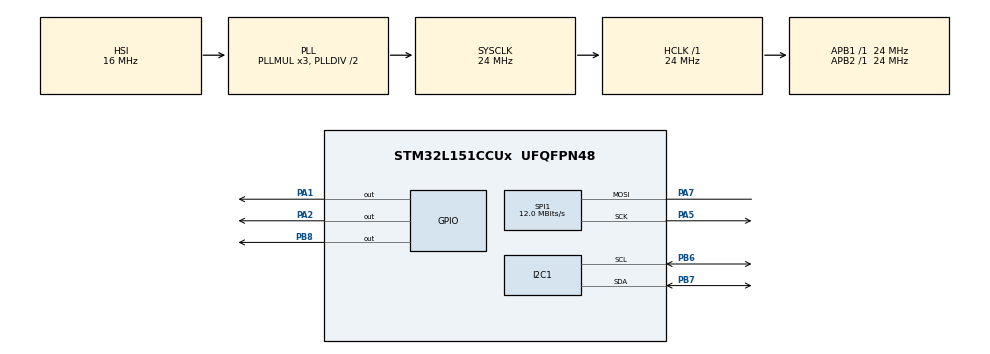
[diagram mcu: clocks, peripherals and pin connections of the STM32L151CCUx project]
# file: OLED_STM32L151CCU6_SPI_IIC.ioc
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Mcu.Family=STM32L1
Mcu.Name=STM32L151CCUx
Mcu.Package=UFQFPN48
NVIC.PriorityGroup=NVIC_PRIORITYGROUP_4
PA1.Signal=GPIO_Output
PA13.Mode=Serial_Wire
PA13.Signal=SYS_JTMS-SWDIO
PA14.Mode=Serial_Wire
PA14.Signal=SYS_JTCK-SWCLK
PA2.Signal=GPIO_Output
PA5.Mode=Simplex_Bidirectional_Master
PA5.Signal=SPI1_SCK
PA7.Mode=Simplex_Bidirectional_Master
PA7.Signal=SPI1_MOSI
PB6.Mode=I2C
PB6.Signal=I2C1_SCL
PB7.Mode=I2C
PB7.Signal=I2C1_SDA
PB8.Signal=GPIO_Output
ProjectManager.HeapSize=0x200
ProjectManager.StackSize=0x400
ProjectManager.TargetToolchain=STM32CubeIDE
RCC.48MHZClocksFreq_Value=24000000
RCC.AHBFreq_Value=24000000
RCC.APB1Freq_Value=24000000
RCC.APB1TimFreq_Value=24000000
RCC.APB2Freq_Value=24000000
RCC.APB2TimFreq_Value=24000000
RCC.HCLKFreq_Value=24000000
RCC.HSE_VALUE=8000000
RCC.HSI_VALUE=16000000
RCC.LSE_VALUE=32768
RCC.MSI_VALUE=2097000
RCC.SYSCLKFreq_VALUE=24000000
RCC.SYSCLKSource=RCC_SYSCLKSOURCE_PLLCLK
RCC.VCOOutputFreq_Value=48000000
SPI1.CalculateBaudRate=12.0 MBits/s
SPI1.Direction=SPI_DIRECTION_1LINE
SPI1.Mode=SPI_MODE_MASTER
SPI1.VirtualType=VM_MASTER
board=custom

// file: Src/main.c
/* USER CODE BEGIN Header */
/**
  ******************************************************************************
  * @file           : main.c
  * @brief          : Main program body
  ******************************************************************************
  * @attention
  *
  * <h2><center>&copy; Copyright (c) 2019 STMicroelectronics.
  * All rights reserved.</center></h2>
  *
  * This software component is licensed by ST under BSD 3-Clause license,
  * the "License"; You may not use this file except in compliance with the
  * License. You may obtain a copy of the License at:
  *                        opensource.org/licenses/BSD-3-Clause
  *
  ******************************************************************************
  */
/* USER CODE END Header */

#include "main.h"

/* USER CODE BEGIN Includes */
#include "OLED.h"
#include "codetab.h"
/* USER CODE END Includes */

I2C_HandleTypeDef hi2c1;

SPI_HandleTypeDef hspi1;

void SystemClock_Config(void);
static void MX_GPIO_Init(void);
static void MX_SPI1_Init(void);
static void MX_I2C1_Init(void);

int main(void)
{
  /* USER CODE BEGIN 1 */
	unsigned int i;
  /* USER CODE END 1 */

  /* MCU Configuration--------------------------------------------------------*/

  /* Reset of all peripherals, Initializes the Flash interface and the Systick. */
  HAL_Init();

  /* Configure the system clock */
  SystemClock_Config();

  /* Initialize all configured peripherals */
  MX_GPIO_Init();
  MX_SPI1_Init();
  MX_I2C1_Init();
  /* USER CODE BEGIN 2 */
    HAL_GPIO_WritePin(GPIOB, GPIO_PIN_8, GPIO_PIN_SET);
  	HAL_Delay(1000);
  	HAL_GPIO_WritePin(GPIOB, GPIO_PIN_8, GPIO_PIN_RESET);
  	HAL_Delay(1000);

  	OLED_Init();

  /* USER CODE END 2 */

  /* Infinite loop */
  while (1)
  {

    /* USER CODE BEGIN 3 */
	  OLED_Fill(0xFF);
	  HAL_Delay(1000);
	  OLED_Fill(0x00);
	  HAL_Delay(1000);
	  if(INCH == 0)
	{
	  OLED_ShowChar(0,0,( unsigned char *)"HelTecAutomation",1);
	  OLED_ShowChar(5,1,( unsigned char *)"HOLLEWORLD",2);
	  OLED_ShowChar(5,4,( unsigned char *)"JUST DO TI",2);
	  OLED_ShowChar(34,7,( unsigned char *)"2018-08-2",1);
	  HAL_Delay(3000);
	  OLED_CLS();
	  for(i=0; i<8; i++)
	  {
		  OLED_ShowCN(i*16,0,i);
	  		OLED_ShowCN(i*16,2,i+8);
	  	}
	  	HAL_Delay(2000);
	  	OLED_CLS();
	  	OLED_DrawBMP(0,0,132,8,BMP1);
    }

	  if(INCH == 1)
	  	{
	  			for(i=2; i<6; i++)
	  		{
	        OLED_ShowCN(i*16-8,4,i-2);
	  			 OLED_ShowCN(i*16+8,6,i+2);
	  		}
	  		HAL_Delay(2000);
	  		OLED_CLS();
	  		OLED_DrawBMP(32,4,96,8,BMP3);
	  	}
	  	HAL_Delay(2000);
	  	OLED_CLS();
  }
  /* USER CODE END 3 */
}

void SystemClock_Config(void)
{
  RCC_OscInitTypeDef RCC_OscInitStruct = {0};
  RCC_ClkInitTypeDef RCC_ClkInitStruct = {0};

  /** Configure the main internal regulator output voltage
  */
  __HAL_PWR_VOLTAGESCALING_CONFIG(PWR_REGULATOR_VOLTAGE_SCALE1);
  /** Initializes the CPU, AHB and APB busses clocks
  */
  RCC_OscInitStruct.OscillatorType = RCC_OSCILLATORTYPE_HSI;
  RCC_OscInitStruct.HSIState = RCC_HSI_ON;
  RCC_OscInitStruct.HSICalibrationValue = RCC_HSICALIBRATION_DEFAULT;
  RCC_OscInitStruct.PLL.PLLState = RCC_PLL_ON;
  RCC_OscInitStruct.PLL.PLLSource = RCC_PLLSOURCE_HSI;
  RCC_OscInitStruct.PLL.PLLMUL = RCC_PLL_MUL3;
  RCC_OscInitStruct.PLL.PLLDIV = RCC_PLL_DIV2;
  if (HAL_RCC_OscConfig(&RCC_OscInitStruct) != HAL_OK)
  {
    Error_Handler();
  }
  /** Initializes the CPU, AHB and APB busses clocks
  */
  RCC_ClkInitStruct.ClockType = RCC_CLOCKTYPE_HCLK|RCC_CLOCKTYPE_SYSCLK
                              |RCC_CLOCKTYPE_PCLK1|RCC_CLOCKTYPE_PCLK2;
  RCC_ClkInitStruct.SYSCLKSource = RCC_SYSCLKSOURCE_PLLCLK;
  RCC_ClkInitStruct.AHBCLKDivider = RCC_SYSCLK_DIV1;
  RCC_ClkInitStruct.APB1CLKDivider = RCC_HCLK_DIV1;
  RCC_ClkInitStruct.APB2CLKDivider = RCC_HCLK_DIV1;

  if (HAL_RCC_ClockConfig(&RCC_ClkInitStruct, FLASH_LATENCY_1) != HAL_OK)
  {
    Error_Handler();
  }
}

static void MX_I2C1_Init(void)
{

  hi2c1.Instance = I2C1;
  hi2c1.Init.ClockSpeed = 100000;
  hi2c1.Init.DutyCycle = I2C_DUTYCYCLE_2;
  hi2c1.Init.OwnAddress1 = 0;
  hi2c1.Init.AddressingMode = I2C_ADDRESSINGMODE_7BIT;
  hi2c1.Init.DualAddressMode = I2C_DUALADDRESS_DISABLE;
  hi2c1.Init.OwnAddress2 = 0;
  hi2c1.Init.GeneralCallMode = I2C_GENERALCALL_DISABLE;
  hi2c1.Init.NoStretchMode = I2C_NOSTRETCH_DISABLE;
  if (HAL_I2C_Init(&hi2c1) != HAL_OK)
  {
    Error_Handler();
  }

}

static void MX_SPI1_Init(void)
{

  /* SPI1 parameter configuration*/
  hspi1.Instance = SPI1;
  hspi1.Init.Mode = SPI_MODE_MASTER;
  hspi1.Init.Direction = SPI_DIRECTION_1LINE;
  hspi1.Init.DataSize = SPI_DATASIZE_8BIT;
  hspi1.Init.CLKPolarity = SPI_POLARITY_LOW;
  hspi1.Init.CLKPhase = SPI_PHASE_1EDGE;
  hspi1.Init.NSS = SPI_NSS_SOFT;
  hspi1.Init.BaudRatePrescaler = SPI_BAUDRATEPRESCALER_2;
  hspi1.Init.FirstBit = SPI_FIRSTBIT_MSB;
  hspi1.Init.TIMode = SPI_TIMODE_DISABLE;
  hspi1.Init.CRCCalculation = SPI_CRCCALCULATION_DISABLE;
  hspi1.Init.CRCPolynomial = 10;
  if (HAL_SPI_Init(&hspi1) != HAL_OK)
  {
    Error_Handler();
  }

}

static void MX_GPIO_Init(void)
{
  GPIO_InitTypeDef GPIO_InitStruct = {0};

  /* GPIO Ports Clock Enable */
  __HAL_RCC_GPIOA_CLK_ENABLE();
  __HAL_RCC_GPIOB_CLK_ENABLE();

  /*Configure GPIO pin Output Level */
  HAL_GPIO_WritePin(GPIOA, GPIO_PIN_1|GPIO_PIN_2, GPIO_PIN_RESET);

  /*Configure GPIO pin Output Level */
  HAL_GPIO_WritePin(GPIOB, GPIO_PIN_8, GPIO_PIN_RESET);

  /*Configure GPIO pins : PA1 PA2 */
  GPIO_InitStruct.Pin = GPIO_PIN_1|GPIO_PIN_2;
  GPIO_InitStruct.Mode = GPIO_MODE_OUTPUT_PP;
  GPIO_InitStruct.Pull = GPIO_NOPULL;
  GPIO_InitStruct.Speed = GPIO_SPEED_FREQ_LOW;
  HAL_GPIO_Init(GPIOA, &GPIO_InitStruct);

  /*Configure GPIO pin : PB8 */
  GPIO_InitStruct.Pin = GPIO_PIN_8;
  GPIO_InitStruct.Mode = GPIO_MODE_OUTPUT_PP;
  GPIO_InitStruct.Pull = GPIO_NOPULL;
  GPIO_InitStruct.Speed = GPIO_SPEED_FREQ_LOW;
  HAL_GPIO_Init(GPIOB, &GPIO_InitStruct);

}

void Error_Handler(void)
{
}

/************************ (C) COPYRIGHT STMicroelectronics *****END OF FILE****/
